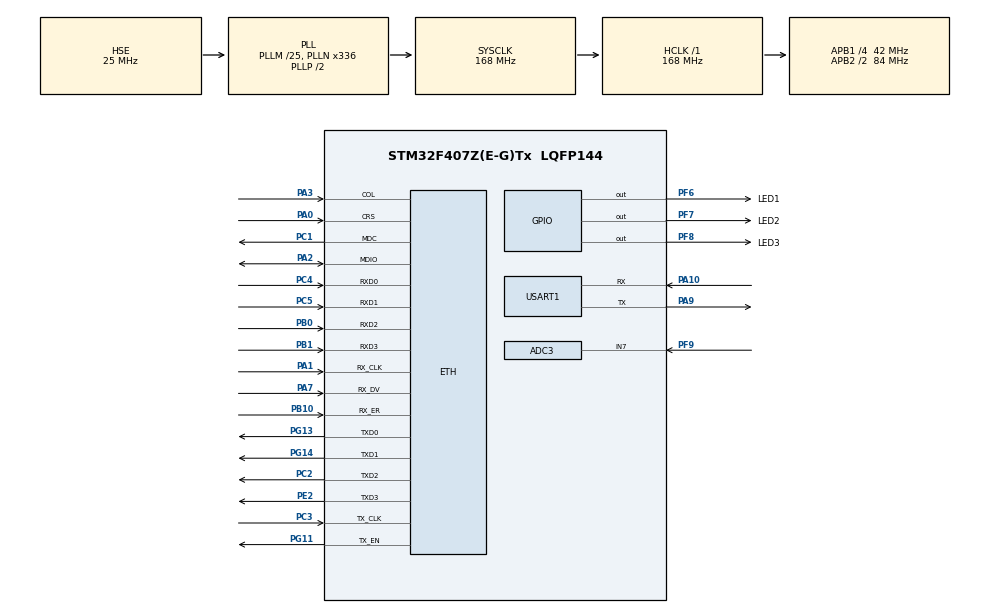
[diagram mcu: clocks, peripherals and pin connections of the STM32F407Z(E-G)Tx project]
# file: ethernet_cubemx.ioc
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ADC3.Channel-0\#ChannelRegularConversion=ADC_CHANNEL_7
ADC3.ContinuousConvMode=ENABLE
ADC3.ExternalTrigConv=ADC_EXTERNALTRIGCONV_T1_CC1
ADC3.ExternalTrigConvEdge=ADC_EXTERNALTRIGCONVEDGE_RISING
ADC3.NbrOfConversionFlag=1
ADC3.Rank-0\#ChannelRegularConversion=1
ADC3.SamplingTime-0\#ChannelRegularConversion=ADC_SAMPLETIME_3CYCLES
ETH.MediaInterface=HAL_ETH_MII_MODE
LWIP.BSP.number=1
LWIP.LWIP_HTTPD=1
LWIP.LWIP_HTTPD_CGI=1
LWIP.LWIP_HTTPD_SSI=1
LWIP.Version=v2.1.2_Cube
LWIP0.BSP.STBoard=false
LWIP0.BSP.api=BSP_COMPONENT_DRIVER
LWIP0.BSP.component=DP83848
LWIP0.BSP.instance=DP83848
LWIP0.BSP.name=Driver_PHY
LWIP0.BSP.semaphore=S_DP83848
LWIP0.BSP.solution=DP83848
Mcu.Family=STM32F4
Mcu.Name=STM32F407Z(E-G)Tx
Mcu.Package=LQFP144
NVIC.PriorityGroup=NVIC_PRIORITYGROUP_4
PA0-WKUP.Mode=MII
PA0-WKUP.Signal=ETH_CRS
PA1.Mode=MII
PA1.Signal=ETH_RX_CLK
PA10.Mode=Asynchronous
PA10.Signal=USART1_RX
PA2.Mode=MII
PA2.Signal=ETH_MDIO
PA3.Mode=MII
PA3.Signal=ETH_COL
PA7.Mode=MII
PA7.Signal=ETH_RX_DV
PA9.Mode=Asynchronous
PA9.Signal=USART1_TX
PB0.Mode=MII
PB0.Signal=ETH_RXD2
PB1.Mode=MII
PB1.Signal=ETH_RXD3
PB10.Mode=Activate Rx Err signal
PB10.Signal=ETH_RX_ER
PC1.Mode=MII
PC1.Signal=ETH_MDC
PC2.Mode=MII
PC2.Signal=ETH_TXD2
PC3.Mode=MII
PC3.Signal=ETH_TX_CLK
PC4.Mode=MII
PC4.Signal=ETH_RXD0
PC5.Mode=MII
PC5.Signal=ETH_RXD1
PE2.Mode=MII
PE2.Signal=ETH_TXD3
PF6.GPIO_Label=LED1
PF6.Signal=GPIO_Output
PF7.GPIO_Label=LED2
PF7.Signal=GPIO_Output
PF8.GPIO_Label=LED3
PF8.Signal=GPIO_Output
PF9.Mode=IN7
PF9.Signal=ADC3_IN7
PG11.Mode=MII
PG11.Signal=ETH_TX_EN
PG13.Mode=MII
PG13.Signal=ETH_TXD0
PG14.Mode=MII
PG14.Signal=ETH_TXD1
PH0-OSC_IN.Mode=HSE-External-Oscillator
PH0-OSC_IN.Signal=RCC_OSC_IN
PH1-OSC_OUT.Mode=HSE-External-Oscillator
PH1-OSC_OUT.Signal=RCC_OSC_OUT
ProjectManager.HeapSize=0x200
ProjectManager.StackSize=0x400
ProjectManager.TargetToolchain=STM32CubeIDE
RCC.48MHZClocksFreq_Value=84000000
RCC.AHBFreq_Value=168000000
RCC.APB1CLKDivider=RCC_HCLK_DIV4
RCC.APB1Freq_Value=42000000
RCC.APB1TimFreq_Value=84000000
RCC.APB2CLKDivider=RCC_HCLK_DIV2
RCC.APB2Freq_Value=84000000
RCC.APB2TimFreq_Value=168000000
RCC.CortexFreq_Value=168000000
RCC.HCLKFreq_Value=168000000
RCC.HSE_VALUE=25000000
RCC.HSI_VALUE=16000000
RCC.LSE_VALUE=32768
RCC.PLLM=25
RCC.PLLN=336
RCC.PLLSourceVirtual=RCC_PLLSOURCE_HSE
RCC.SYSCLKFreq_VALUE=168000000
RCC.SYSCLKSource=RCC_SYSCLKSOURCE_PLLCLK
RCC.VCOOutputFreq_Value=336000000
USART1.VirtualMode=VM_ASYNC
VP_LWIP_VS_Enabled.Mode=Enabled
board=custom

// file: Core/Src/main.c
/* USER CODE BEGIN Header */
/**
  ******************************************************************************
  * @file           : main.c
  * @brief          : Main program body
  ******************************************************************************
  * @attention
  *
  * Copyright (c) 2026 STMicroelectronics.
  * All rights reserved.
  *
  * This software is licensed under terms that can be found in the LICENSE file
  * in the root directory of this software component.
  * If no LICENSE file comes with this software, it is provided AS-IS.
  *
  ******************************************************************************
  */
/* USER CODE END Header */
#include "main.h"
#include "lwip.h"

/* USER CODE BEGIN Includes */
#include "lwip/apps/httpd.h"
#include "lwip/prot/dhcp.h"
#include "lwip/netif.h"
#include "lwip/ip4_addr.h"
/* USER CODE END Includes */

ADC_HandleTypeDef hadc3;

UART_HandleTypeDef huart1;

void SystemClock_Config(void);
static void MX_GPIO_Init(void);
static void MX_USART1_UART_Init(void);
static void MX_ADC3_Init(void);

/* USER CODE BEGIN 0 */
#define hUART           huart1
int _write( int32_t file , uint8_t *ptr , int32_t len )
{
    /* Implement your write code here, this is used by puts and printf for example */
    for ( int16_t i = 0 ; i < len ; ++i )
    {
        HAL_UART_Transmit( &hUART, ptr++, 1, 100);
    }
    return len;
}

extern struct netif gnetif;
void poll_dhcp_and_print_once(void)
{
    static uint8_t printed = 0;

    struct dhcp *d = netif_dhcp_data(&gnetif);
    if (!d) return;

    if (!printed && d->state == DHCP_STATE_BOUND)
    {
        printf("DHCP BOUND!\r\n");
        printf("IP: %s\r\n", ip4addr_ntoa(netif_ip4_addr(&gnetif)));
        printf("GW: %s\r\n", ip4addr_ntoa(netif_ip4_gw(&gnetif)));
        printf("MSK: %s\r\n", ip4addr_ntoa(netif_ip4_netmask(&gnetif)));
        printed = 1;
    }
}

tSSIHandler ADC_Page_SSI_Handler;

/* we will use character "t" as tag for CGI */
char const* TAGCHAR="t";
char const** TAGS=&TAGCHAR;

u16_t ADC_Handler(int iIndex, char *pcInsert, int iInsertLen);
void httpd_ssi_init(void);
void httpd_cgi_init(void);

/* CGI handler for LED control */
const char * LEDS_CGI_Handler(int iIndex, int iNumParams, char *pcParam[], char *pcValue[]);

/* Html request for "/leds.cgi" will start LEDS_CGI_Handler */
const tCGI LEDS_CGI={"/leds.cgi", LEDS_CGI_Handler};

/* Cgi call table, only one CGI used */
tCGI CGI_TAB[1];

/**
  * @brief  ADC_Handler : SSI handler for ADC page
  */
u16_t ADC_Handler(int iIndex, char *pcInsert, int iInsertLen)
{
  /* We have only one SSI handler iIndex = 0 */
  if (iIndex ==0)
  {
	    char Digit1=0, Digit2=0, Digit3=0, Digit4=0;
	    uint32_t ADCVal = 0;

	     HAL_ADC_PollForConversion(&hadc3, 10);
	     /* get ADC conversion value */
	     ADCVal =  HAL_ADC_GetValue(&hadc3);

	     /* convert to Voltage,  step = 0.8 mV */
	     ADCVal = (uint32_t)(ADCVal * 0.8);

	     /* get digits to display */

	     Digit1= ADCVal/1000;
	     Digit2= (ADCVal-(Digit1*1000))/100;
	     Digit3= (ADCVal-((Digit1*1000)+(Digit2*100)))/10;
	     Digit4= ADCVal -((Digit1*1000)+(Digit2*100)+ (Digit3*10));

	     /* prepare data to be inserted in html */
	     *pcInsert       = (char)(Digit1+0x30);
	     *(pcInsert + 1) = (char)(Digit2+0x30);
	     *(pcInsert + 2) = (char)(Digit3+0x30);
	     *(pcInsert + 3) = (char)(Digit4+0x30);

    /* 4 characters need to be inserted in html*/
    return 4;
  }
  return 0;
}

/**
  * @brief  CGI handler for LEDs control
  */
const char * LEDS_CGI_Handler(int iIndex, int iNumParams, char *pcParam[], char *pcValue[])
{
  uint32_t i=0;

  /* We have only one SSI handler iIndex = 0 */
  if (iIndex==0)
  {
    /* All leds off */
	  HAL_GPIO_WritePin(GPIOF, LED1_Pin, GPIO_PIN_SET);
	  HAL_GPIO_WritePin(GPIOF, LED2_Pin, GPIO_PIN_SET);
	  HAL_GPIO_WritePin(GPIOF, LED3_Pin, GPIO_PIN_SET);

    /* Check cgi parameter : application GET /leds.cgi?led=2&led=4 */
    for (i=0; i<iNumParams; i++)
    {
      /* check parameter "led" */
      if (strcmp(pcParam[i] , "led")==0)
      {
        /* switch led1 ON if 1 */
        if(strcmp(pcValue[i], "1") ==0)
        	 HAL_GPIO_WritePin(GPIOF, LED1_Pin, GPIO_PIN_RESET);

        /* switch led2 ON if 2 */
        else if(strcmp(pcValue[i], "2") ==0)
        	 HAL_GPIO_WritePin(GPIOF, LED2_Pin, GPIO_PIN_RESET);

        /* switch led3 ON if 3 */
        else if(strcmp(pcValue[i], "3") ==0)
        	 HAL_GPIO_WritePin(GPIOF, LED3_Pin, GPIO_PIN_RESET);
      }
    }
  }
  /* uri to send after cgi call*/
  return "/STM32F4xxLED.html";
}

/**
 * Initialize SSI handlers
 */
void httpd_ssi_init(void)
{
  /* configure SSI handlers (ADC page SSI) */
  http_set_ssi_handler(ADC_Handler, (char const **)TAGS, 1);
}

/**
 * Initialize CGI handlers
 */
void httpd_cgi_init(void)
{
  /* configure CGI handlers (LEDs control CGI) */
  CGI_TAB[0] = LEDS_CGI;
  http_set_cgi_handlers(CGI_TAB, 1);
}
/* USER CODE END 0 */

int main(void)
{

  /* MCU Configuration--------------------------------------------------------*/

  /* Reset of all peripherals, Initializes the Flash interface and the Systick. */
  HAL_Init();

  /* Configure the system clock */
  SystemClock_Config();

  /* Initialize all configured peripherals */
  MX_GPIO_Init();
  MX_USART1_UART_Init();
  MX_LWIP_Init();
  MX_ADC3_Init();
  /* USER CODE BEGIN 2 */
  printf("Ethernet test\r\n");
  httpd_init();

#if LWIP_HTTPD_SSI
  httpd_ssi_init();
#endif

#if LWIP_HTTPD_CGI
  httpd_cgi_init();
#endif

  /* USER CODE END 2 */

  /* Infinite loop */
  /* USER CODE BEGIN WHILE */
  while (1)
  {
	  MX_LWIP_Process();
	  poll_dhcp_and_print_once();
    /* USER CODE END WHILE */

  }
}

void SystemClock_Config(void)
{
  RCC_OscInitTypeDef RCC_OscInitStruct = {0};
  RCC_ClkInitTypeDef RCC_ClkInitStruct = {0};

  /** Configure the main internal regulator output voltage
  */
  __HAL_RCC_PWR_CLK_ENABLE();
  __HAL_PWR_VOLTAGESCALING_CONFIG(PWR_REGULATOR_VOLTAGE_SCALE1);

  /** Initializes the RCC Oscillators according to the specified parameters
  * in the RCC_OscInitTypeDef structure.
  */
  RCC_OscInitStruct.OscillatorType = RCC_OSCILLATORTYPE_HSE;
  RCC_OscInitStruct.HSEState = RCC_HSE_ON;
  RCC_OscInitStruct.PLL.PLLState = RCC_PLL_ON;
  RCC_OscInitStruct.PLL.PLLSource = RCC_PLLSOURCE_HSE;
  RCC_OscInitStruct.PLL.PLLM = 25;
  RCC_OscInitStruct.PLL.PLLN = 336;
  RCC_OscInitStruct.PLL.PLLP = RCC_PLLP_DIV2;
  RCC_OscInitStruct.PLL.PLLQ = 4;
  if (HAL_RCC_OscConfig(&RCC_OscInitStruct) != HAL_OK)
  {
    Error_Handler();
  }

  /** Initializes the CPU, AHB and APB buses clocks
  */
  RCC_ClkInitStruct.ClockType = RCC_CLOCKTYPE_HCLK|RCC_CLOCKTYPE_SYSCLK
                              |RCC_CLOCKTYPE_PCLK1|RCC_CLOCKTYPE_PCLK2;
  RCC_ClkInitStruct.SYSCLKSource = RCC_SYSCLKSOURCE_PLLCLK;
  RCC_ClkInitStruct.AHBCLKDivider = RCC_SYSCLK_DIV1;
  RCC_ClkInitStruct.APB1CLKDivider = RCC_HCLK_DIV4;
  RCC_ClkInitStruct.APB2CLKDivider = RCC_HCLK_DIV2;

  if (HAL_RCC_ClockConfig(&RCC_ClkInitStruct, FLASH_LATENCY_5) != HAL_OK)
  {
    Error_Handler();
  }
}

static void MX_ADC3_Init(void)
{

  ADC_ChannelConfTypeDef sConfig = {0};

  /** Configure the global features of the ADC (Clock, Resolution, Data Alignment and number of conversion)
  */
  hadc3.Instance = ADC3;
  hadc3.Init.ClockPrescaler = ADC_CLOCK_SYNC_PCLK_DIV4;
  hadc3.Init.Resolution = ADC_RESOLUTION_12B;
  hadc3.Init.ScanConvMode = DISABLE;
  hadc3.Init.ContinuousConvMode = ENABLE;
  hadc3.Init.DiscontinuousConvMode = DISABLE;
  hadc3.Init.ExternalTrigConvEdge = ADC_EXTERNALTRIGCONVEDGE_RISING;
  hadc3.Init.ExternalTrigConv = ADC_EXTERNALTRIGCONV_T1_CC1;
  hadc3.Init.DataAlign = ADC_DATAALIGN_RIGHT;
  hadc3.Init.NbrOfConversion = 1;
  hadc3.Init.DMAContinuousRequests = DISABLE;
  hadc3.Init.EOCSelection = ADC_EOC_SINGLE_CONV;
  if (HAL_ADC_Init(&hadc3) != HAL_OK)
  {
    Error_Handler();
  }

  /** Configure for the selected ADC regular channel its corresponding rank in the sequencer and its sample time.
  */
  sConfig.Channel = ADC_CHANNEL_7;
  sConfig.Rank = 1;
  sConfig.SamplingTime = ADC_SAMPLETIME_3CYCLES;
  if (HAL_ADC_ConfigChannel(&hadc3, &sConfig) != HAL_OK)
  {
    Error_Handler();
  }

}

static void MX_USART1_UART_Init(void)
{

  huart1.Instance = USART1;
  huart1.Init.BaudRate = 115200;
  huart1.Init.WordLength = UART_WORDLENGTH_8B;
  huart1.Init.StopBits = UART_STOPBITS_1;
  huart1.Init.Parity = UART_PARITY_NONE;
  huart1.Init.Mode = UART_MODE_TX_RX;
  huart1.Init.HwFlowCtl = UART_HWCONTROL_NONE;
  huart1.Init.OverSampling = UART_OVERSAMPLING_16;
  if (HAL_UART_Init(&huart1) != HAL_OK)
  {
    Error_Handler();
  }

}

static void MX_GPIO_Init(void)
{
  GPIO_InitTypeDef GPIO_InitStruct = {0};

  /* GPIO Ports Clock Enable */
  __HAL_RCC_GPIOE_CLK_ENABLE();
  __HAL_RCC_GPIOF_CLK_ENABLE();
  __HAL_RCC_GPIOH_CLK_ENABLE();
  __HAL_RCC_GPIOC_CLK_ENABLE();
  __HAL_RCC_GPIOA_CLK_ENABLE();
  __HAL_RCC_GPIOB_CLK_ENABLE();
  __HAL_RCC_GPIOG_CLK_ENABLE();

  /*Configure GPIO pin Output Level */
  HAL_GPIO_WritePin(GPIOF, LED1_Pin|LED2_Pin|LED3_Pin, GPIO_PIN_RESET);

  /*Configure GPIO pins : LED1_Pin LED2_Pin LED3_Pin */
  GPIO_InitStruct.Pin = LED1_Pin|LED2_Pin|LED3_Pin;
  GPIO_InitStruct.Mode = GPIO_MODE_OUTPUT_PP;
  GPIO_InitStruct.Pull = GPIO_NOPULL;
  GPIO_InitStruct.Speed = GPIO_SPEED_FREQ_LOW;
  HAL_GPIO_Init(GPIOF, &GPIO_InitStruct);

}

void Error_Handler(void)
{
  __disable_irq();
  while (1)
  {
  }
}
